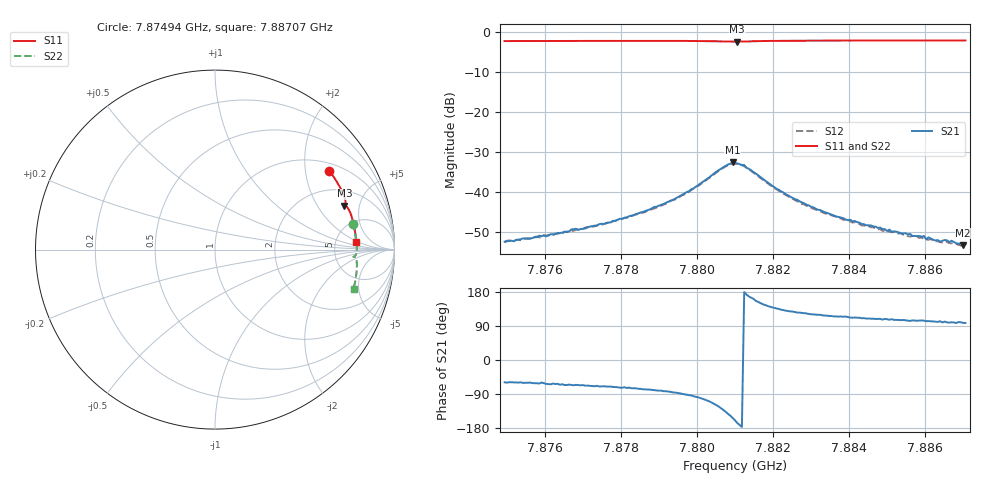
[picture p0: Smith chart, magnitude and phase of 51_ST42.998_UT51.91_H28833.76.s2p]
#  HZ  S  DB  R  50.00
! Rohde & Schwarz Vector Network Analyzer
! Rohde-Schwarz,ZNB20-2Port,1311601062101988,3.16
! Created: UTC 1/12/2023, 6:32:56 PM
! freq[Hz]  db:S11  ang:S11  db:S21  ang:S21  db:S12  ang:S12  db:S22  ang:S22
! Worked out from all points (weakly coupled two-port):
!   201 points, 7.87494 GHz to 7.88707 GHz, reference 50 ohm
!   highest |S21| = -32.67 dB at 7.88094 GHz (marker M1); lowest = -53.3 dB at 7.88701 GHz (marker M2)
!   lowest |S11| = -2.4 dB at 7.88106 GHz (marker M3), VSWR 7.37, Z = 153 + j178 ohm
!   |S11| at or under -10 dB: nowhere
!   |S22| runs from -2.2 to -1.9 dB; largest |S21 - S12| = 0.0021
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7.874938e9  -2.23 34.7  -52.52 -58.9  -52.72 -61.9  -2.14 10.7
7.877e9  -2.19 29.1  -49.33 -66.1  -49.33 -69.1  -2.09 5.8
7.878153e9  -2.18 25.9  -46.54 -73.8  -46.41 -76.7  -2.06 3.2
7.879002e9  -2.18 23.6  -43.48 -80.9  -43.72 -84.0  -2.05 1.1
7.87979e9  -2.19 21.3  -39.88 -92.3  -40.01 -95.8  -2.06 -0.8
7.880639e9  -2.31 19.0  -34.17 -127.4  -34.33 -130.9  -2.17 -2.9
7.880943e9  -2.37 18.7  -32.67 -153.3  -33.02 -157.0  -2.24 -3.0
7.881003e9  -2.37 18.7  -32.79 -159.2  -33.01 -162.9  -2.24 -2.9
7.881064e9  -2.37 18.7  -32.92 -166.3  -33.03 -168.9  -2.25 -2.9
7.881246e9  -2.33 18.6  -33.30 179.2  -33.63 174.0  -2.21 -2.9
7.882338e9  -2.16 15.8  -40.62 130.2  -40.79 127.6  -2.02 -5.2
7.883066e9  -2.13 13.7  -43.91 120.4  -44.31 116.8  -1.98 -6.9
7.883975e9  -2.11 11.3  -47.14 113.4  -47.27 109.5  -1.95 -9.0
7.885067e9  -2.09 8.4  -49.51 106.3  -50.04 104.4  -1.94 -11.5
7.885674e9  -2.09 6.8  -51.10 104.7  -51.10 100.0  -1.93 -12.7
7.885977e9  -2.08 6.0  -51.11 103.9  -51.83 99.2  -1.93 -13.4
7.886038e9  -2.09 5.9  -51.92 102.4  -51.98 100.0  -1.93 -13.5
7.886098e9  -2.08 5.7  -51.45 102.6  -52.07 99.9  -1.92 -13.7
7.886401e9  -2.08 4.9  -52.55 102.4  -52.62 97.7  -1.92 -14.3
7.886705e9  -2.08 4.1  -52.30 99.5  -52.92 98.1  -1.92 -14.9
7.887008e9  -2.07 3.3  -53.34 98.1  -53.54 95.9  -1.91 -15.6
7.887069e9  -2.07 3.2  -53.15 97.6  -53.66 96.5  -1.92 -15.7
